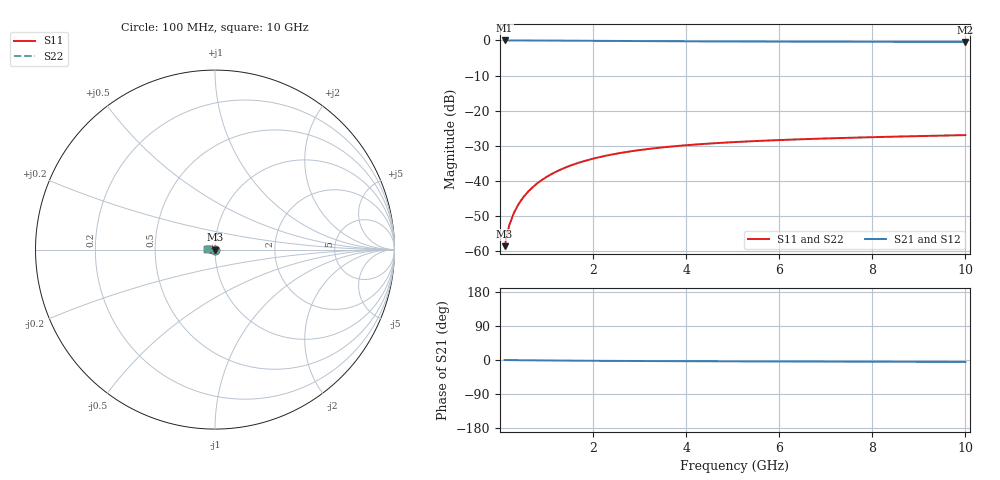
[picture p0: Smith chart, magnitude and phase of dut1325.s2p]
! Touchstone file exported from HFSS 2024.1.0
!  File:  C:/UserFiles/LocalFiles/RDL_TSV_Batchsim/temp_TSV1_1325_1780374795.aedt
!  Generated:  12:37:45 PM Jun  2, 2026
!  Design:  TSV1
!  Project:  temp_TSV1_1325_1780374795
!  Setup:  Setup1
!  Solution:  Sweep
! Variables:
!  dtsv = 9.75um
!  hbump = 3um
!  htsv = 80.51um
!  lrdl = 252.1521522um
!  p = 40
!  p1 = 51.01um
!  t = 500um
!  trdl = 3um
!  wrdl = 24.89489489um
# GHz S MA R 50.000000
! Terminal data exported
! Port[1] = TSV22_T1
! Port[2] = TSV22_T2
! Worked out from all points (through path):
!   100 points, 100 MHz to 10 GHz, reference 50 ohm
!   highest |S21| = 0.00 dB at 100 MHz (marker M1); lowest = -0.4 dB at 10 GHz (marker M2)
!   lowest |S11| = -58.5 dB at 100 MHz (marker M3), VSWR 1.00, Z = 50 - j0.118 ohm
!   |S11| at or under -10 dB: start of sweep to end of sweep
!   |S22| runs from -58.5 to -26.9 dB; largest |S21 - S12| = 5.4e-15
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0.1  0.001184 -84.4  0.9998 -0.1  0.9998 -0.1  0.001184 -84.4
! Gamma 0 0 0 0
! Port Impedance 50 0 50 0
0.2  0.002355 -89.8  0.9997 -0.2  0.9997 -0.2  0.002355 -89.8
0.3  0.003528 -92.8  0.9995 -0.4  0.9995 -0.4  0.003528 -92.8
0.4  0.004697 -95.3  0.9992 -0.5  0.9992 -0.5  0.004697 -95.3
0.5  0.005858 -97.5  0.9988 -0.6  0.9988 -0.6  0.005858 -97.5
0.6  0.007006 -99.6  0.9984 -0.7  0.9984 -0.7  0.007006 -99.6
0.7  0.00814 -101.6  0.9979 -0.8  0.9979 -0.8  0.00814 -101.6
0.8  0.009256 -103.5  0.9974 -1.0  0.9974 -1.0  0.009256 -103.5
0.9  0.01035 -105.4  0.9968 -1.1  0.9968 -1.1  0.01035 -105.4
1.1  0.01248 -109.1  0.9955 -1.3  0.9955 -1.3  0.01248 -109.1
1.4  0.01549 -114.3  0.9932 -1.6  0.9932 -1.6  0.01549 -114.3
1.6  0.01737 -117.7  0.9915 -1.8  0.9915 -1.8  0.01737 -117.7
1.8  0.01913 -120.9  0.9898 -1.9  0.9898 -1.9  0.01913 -120.9
2.1  0.02158 -125.4  0.9871 -2.2  0.9871 -2.2  0.02158 -125.4
2.5  0.02448 -131.0  0.9836 -2.4  0.9836 -2.4  0.02448 -131.0
2.9  0.02698 -136.1  0.9802 -2.7  0.9802 -2.7  0.02698 -136.1
3.4  0.02965 -141.9  0.9763 -2.9  0.9763 -2.9  0.02965 -141.9
4.2  0.03306 -150.0  0.9709 -3.3  0.9709 -3.3  0.03306 -150.0
5.1  0.03598 -157.7  0.9661 -3.6  0.9661 -3.6  0.03598 -157.7
6.7  0.03974 -168.9  0.96 -4.1  0.96 -4.1  0.03974 -168.9
8.4  0.04269 -178.4  0.9557 -4.7  0.9557 -4.7  0.04268 -178.4
10  0.045 174.1  0.953 -5.2  0.953 -5.2  0.045 174.1
